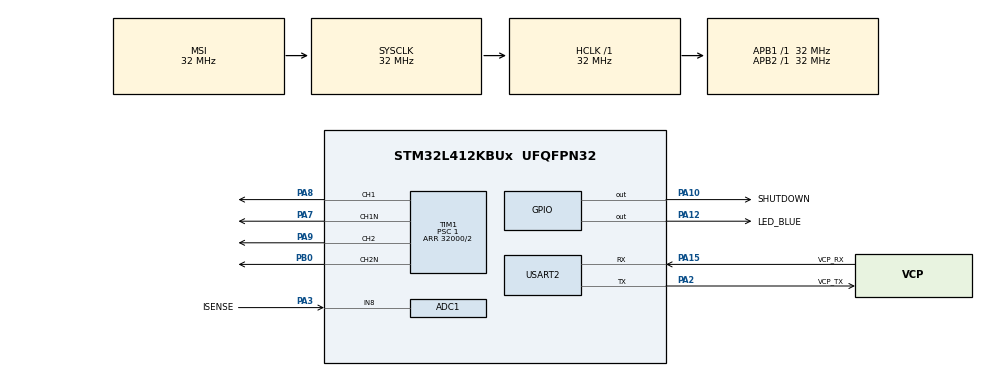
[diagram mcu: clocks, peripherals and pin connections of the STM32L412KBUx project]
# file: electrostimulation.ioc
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ADC1.Channel-1\#ChannelRegularConversion=ADC_CHANNEL_8
ADC1.NbrOfConversionFlag=1
ADC1.OffsetNumber-1\#ChannelRegularConversion=ADC_OFFSET_NONE
ADC1.Rank-1\#ChannelRegularConversion=1
ADC1.SamplingTime-1\#ChannelRegularConversion=ADC_SAMPLETIME_2CYCLES_5
ADC1.master=1
Mcu.Family=STM32L4
Mcu.Name=STM32L412KBUx
Mcu.Package=UFQFPN32
NVIC.PriorityGroup=NVIC_PRIORITYGROUP_4
NVIC.TIM2_IRQn=true\:0\:0\:false\:false\:true\:true\:true\:true
NVIC.USART2_IRQn=true\:0\:0\:false\:false\:true\:true\:true\:true
PA0-CK_IN.Mode=HSE-External-Clock-Source-for-LittleOrca
PA0-CK_IN.Signal=RCC_CK_IN
PA10.GPIO_Label=SHUTDOWN
PA10.Signal=GPIO_Output
PA12.GPIO_Label=LED_BLUE
PA12.Signal=GPIO_Output
PA13\ (JTMS/SWDIO).GPIO_Label=SWDIO
PA13\ (JTMS/SWDIO).Mode=Serial_Wire
PA13\ (JTMS/SWDIO).Signal=SYS_JTMS-SWDIO
PA14\ (JTCK/SWCLK).GPIO_Label=SWCLK
PA14\ (JTCK/SWCLK).Mode=Serial_Wire
PA14\ (JTCK/SWCLK).Signal=SYS_JTCK-SWCLK
PA15\ (JTDI).GPIO_Label=VCP_RX
PA15\ (JTDI).Mode=Asynchronous
PA15\ (JTDI).Signal=USART2_RX
PA2.GPIO_Label=VCP_TX
PA2.Mode=Asynchronous
PA2.Signal=USART2_TX
PA3.GPIO_Label=ISENSE
PA3.Signal=ADCx_IN8
PA7.Mode=PWM Generation1 CH1 CH1N
PA7.Signal=TIM1_CH1N
PA8.Signal=S_TIM1_CH1
PA9.Signal=S_TIM1_CH2
PB0.Mode=PWM Generation2 CH2 CH2N
PB0.Signal=TIM1_CH2N
PC14-OSC32_IN\ (PC14).Mode=LSE-External-Oscillator
PC14-OSC32_IN\ (PC14).Signal=RCC_OSC32_IN
PC15-OSC32_OUT\ (PC15).Mode=LSE-External-Oscillator
PC15-OSC32_OUT\ (PC15).Signal=RCC_OSC32_OUT
ProjectManager.HeapSize=0x200
ProjectManager.StackSize=0x400
ProjectManager.TargetToolchain=STM32CubeIDE
RCC.ADCFreq_Value=32000000
RCC.AHBFreq_Value=32000000
RCC.APB1Freq_Value=32000000
RCC.APB1TimFreq_Value=32000000
RCC.APB2Freq_Value=32000000
RCC.APB2TimFreq_Value=32000000
RCC.CortexFreq_Value=32000000
RCC.FLatency=FLASH_LATENCY_1
RCC.HCLKFreq_Value=32000000
RCC.HSE_VALUE=8000000
RCC.HSI48_VALUE=48000000
RCC.HSICalibrationValue=16
RCC.HSI_VALUE=16000000
RCC.LSE_Drive_Capability=RCC_LSEDRIVE_LOW
RCC.MSIClockRange=RCC_MSIRANGE_10
RCC.MSI_VALUE=32000000
RCC.SYSCLKFreq_VALUE=32000000
RCC.USBFreq_Value=32000000
RCC.VCOOutputFreq_Value=256000000
SH.ADCx_IN8.0=ADC1_IN8,IN8-Single-Ended
SH.S_TIM1_CH1.0=TIM1_CH1,PWM Generation1 CH1 CH1N
SH.S_TIM1_CH2.0=TIM1_CH2,PWM Generation2 CH2 CH2N
TIM1.Channel-PWM\ Generation1\ CH1\ CH1N=TIM_CHANNEL_1
TIM1.Channel-PWM\ Generation2\ CH2\ CH2N=TIM_CHANNEL_2
TIM1.DeadTime=30
TIM1.OCMode_PWM-PWM\ Generation2\ CH2\ CH2N=TIM_OCMODE_PWM2
TIM1.OCNPolarity_1=TIM_OCNPOLARITY_HIGH
TIM1.OCNPolarity_2=TIM_OCNPOLARITY_HIGH
TIM1.OCPolarity_2=TIM_OCPOLARITY_HIGH
TIM1.Period=32000/2
TIM1.Prescaler=1
TIM2.Period=100
TIM2.Prescaler=320-1
USART2.VirtualMode-Asynchronous=VM_ASYNC
VP_TIM2_VS_ClockSourceINT.Mode=Internal
board=NUCLEO-L412KB

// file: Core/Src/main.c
/* USER CODE BEGIN Header */
/**
 ******************************************************************************
 * @file           : main.c
 * @brief          : Main program body
 ******************************************************************************
This project contains the firmware code for the STM32LK432B for the MSRL electrostimulation driver.
/*
/* USER CODE END Header */
#include "main.h"

/* USER CODE BEGIN Includes */
#include "string.h"
/* USER CODE END Includes */

/* USER CODE BEGIN PD */
//if AUTOSTART is defined, the output will be automatically be enabled after startup
#define AUTOSTART
/* USER CODE END PD */

ADC_HandleTypeDef hadc1;

TIM_HandleTypeDef htim1;
TIM_HandleTypeDef htim2;

UART_HandleTypeDef huart2;

void SystemClock_Config(void);
static void MX_GPIO_Init(void);
static void MX_USART2_UART_Init(void);
static void MX_TIM2_Init(void);
static void MX_TIM1_Init(void);
static void MX_ADC1_Init(void);

/* USER CODE BEGIN 0 */
// UART related definitions
uint32_t period = 14285; // initial counter corresponds to f_pwm=1.12kHz
uint8_t uart_rx_symbol;
#define UART_BUFFER_SIZE 32
uint8_t rx_buffer_counter;
uint8_t rx_buffer[UART_BUFFER_SIZE];
uint8_t tx_buffer[UART_BUFFER_SIZE];
// commands & fsm
#define COMMAND_LENGTH 4
const uint8_t CMD_START[] = "STRT";
const uint8_t CMD_STOP[] = "STOP";
const uint8_t CMD_CNTR[] = "CNTR";
// ADC related variables
#define ADC_BUFFER_SIZE 1024
uint32_t adc_val = 0;
uint16_t adc_buffer_counter = 0;
uint32_t adc_buffer[ADC_BUFFER_SIZE];
// pwm frequency related variables
uint32_t des_freq_mHz = 0;
/* USER CODE END 0 */

int main(void)
{

  /* MCU Configuration--------------------------------------------------------*/

  /* Reset of all peripherals, Initializes the Flash interface and the Systick. */
  HAL_Init();

  /* Configure the system clock */
  SystemClock_Config();

  /* Initialize all configured peripherals */
  MX_GPIO_Init();
  MX_USART2_UART_Init();
  MX_TIM2_Init();
  MX_TIM1_Init();
  MX_ADC1_Init();
  /* USER CODE BEGIN 2 */
  // setup pwm on Timer1 channel 1 and channel 2
  __HAL_TIM_SET_COMPARE(&htim1, TIM_CHANNEL_1, period / 2);
  HAL_TIM_PWM_Start(&htim1, TIM_CHANNEL_1);
  HAL_TIMEx_PWMN_Start(&htim1, TIM_CHANNEL_1);
  __HAL_TIM_SET_COMPARE(&htim1, TIM_CHANNEL_2, period / 2);
  HAL_TIM_PWM_Start(&htim1, TIM_CHANNEL_2);
  HAL_TIMEx_PWMN_Start(&htim1, TIM_CHANNEL_2);
  htim1.Init.Period = period;
  HAL_TIM_PWM_Init(&htim1);
  // light up LED3
  HAL_GPIO_WritePin(LED_BLUE_GPIO_Port, LED_BLUE_Pin, GPIO_PIN_SET);
  // start ADC
  HAL_ADC_Start_IT(&hadc1);
  // start timer 2
  HAL_TIM_Base_Start_IT(&htim2);

#ifdef AUTOSTART
  // enable half-bridge drive
  HAL_GPIO_WritePin(SHUTDOWN_GPIO_Port, SHUTDOWN_Pin, GPIO_PIN_RESET);
#endif
  /* USER CODE END 2 */

  /* Infinite loop */
  while (1)
  {

    /* USER CODE BEGIN 3 */
    // read a single character in interrupt mode
    HAL_UART_Receive_IT(&huart2, &uart_rx_symbol, 1);
    // HAL_UART_Transmit(&huart2,uart_tx_buffer,5,100);
  }
  /* USER CODE END 3 */
}

void SystemClock_Config(void)
{
  RCC_OscInitTypeDef RCC_OscInitStruct = {0};
  RCC_ClkInitTypeDef RCC_ClkInitStruct = {0};

  /** Configure the main internal regulator output voltage
   */
  if (HAL_PWREx_ControlVoltageScaling(PWR_REGULATOR_VOLTAGE_SCALE1) != HAL_OK)
  {
    Error_Handler();
  }

  /** Configure LSE Drive Capability
   */
  HAL_PWR_EnableBkUpAccess();
  __HAL_RCC_LSEDRIVE_CONFIG(RCC_LSEDRIVE_LOW);

  /** Initializes the RCC Oscillators according to the specified parameters
   * in the RCC_OscInitTypeDef structure.
   */
  RCC_OscInitStruct.OscillatorType = RCC_OSCILLATORTYPE_LSE | RCC_OSCILLATORTYPE_MSI;
  RCC_OscInitStruct.LSEState = RCC_LSE_ON;
  RCC_OscInitStruct.MSIState = RCC_MSI_ON;
  RCC_OscInitStruct.MSICalibrationValue = 0;
  RCC_OscInitStruct.MSIClockRange = RCC_MSIRANGE_10;
  RCC_OscInitStruct.PLL.PLLState = RCC_PLL_NONE;
  if (HAL_RCC_OscConfig(&RCC_OscInitStruct) != HAL_OK)
  {
    Error_Handler();
  }

  /** Initializes the CPU, AHB and APB buses clocks
   */
  RCC_ClkInitStruct.ClockType = RCC_CLOCKTYPE_HCLK | RCC_CLOCKTYPE_SYSCLK | RCC_CLOCKTYPE_PCLK1 | RCC_CLOCKTYPE_PCLK2;
  RCC_ClkInitStruct.SYSCLKSource = RCC_SYSCLKSOURCE_MSI;
  RCC_ClkInitStruct.AHBCLKDivider = RCC_SYSCLK_DIV1;
  RCC_ClkInitStruct.APB1CLKDivider = RCC_HCLK_DIV1;
  RCC_ClkInitStruct.APB2CLKDivider = RCC_HCLK_DIV1;

  if (HAL_RCC_ClockConfig(&RCC_ClkInitStruct, FLASH_LATENCY_1) != HAL_OK)
  {
    Error_Handler();
  }

  /** Enable MSI Auto calibration
   */
  HAL_RCCEx_EnableMSIPLLMode();
}

static void MX_ADC1_Init(void)
{

  ADC_MultiModeTypeDef multimode = {0};
  ADC_ChannelConfTypeDef sConfig = {0};

  /** Common config
   */
  hadc1.Instance = ADC1;
  hadc1.Init.ClockPrescaler = ADC_CLOCK_ASYNC_DIV1;
  hadc1.Init.Resolution = ADC_RESOLUTION_12B;
  hadc1.Init.DataAlign = ADC_DATAALIGN_RIGHT;
  hadc1.Init.ScanConvMode = ADC_SCAN_DISABLE;
  hadc1.Init.EOCSelection = ADC_EOC_SINGLE_CONV;
  hadc1.Init.LowPowerAutoWait = DISABLE;
  hadc1.Init.ContinuousConvMode = DISABLE;
  hadc1.Init.NbrOfConversion = 1;
  hadc1.Init.DiscontinuousConvMode = DISABLE;
  hadc1.Init.ExternalTrigConv = ADC_SOFTWARE_START;
  hadc1.Init.ExternalTrigConvEdge = ADC_EXTERNALTRIGCONVEDGE_NONE;
  hadc1.Init.DMAContinuousRequests = DISABLE;
  hadc1.Init.Overrun = ADC_OVR_DATA_PRESERVED;
  hadc1.Init.OversamplingMode = DISABLE;
  if (HAL_ADC_Init(&hadc1) != HAL_OK)
  {
    Error_Handler();
  }

  /** Configure the ADC multi-mode
   */
  multimode.Mode = ADC_MODE_INDEPENDENT;
  if (HAL_ADCEx_MultiModeConfigChannel(&hadc1, &multimode) != HAL_OK)
  {
    Error_Handler();
  }

  /** Configure Regular Channel
   */
  sConfig.Channel = ADC_CHANNEL_8;
  sConfig.Rank = ADC_REGULAR_RANK_1;
  sConfig.SamplingTime = ADC_SAMPLETIME_2CYCLES_5;
  sConfig.SingleDiff = ADC_SINGLE_ENDED;
  sConfig.OffsetNumber = ADC_OFFSET_NONE;
  sConfig.Offset = 0;
  if (HAL_ADC_ConfigChannel(&hadc1, &sConfig) != HAL_OK)
  {
    Error_Handler();
  }
}

static void MX_TIM1_Init(void)
{

  TIM_MasterConfigTypeDef sMasterConfig = {0};
  TIM_OC_InitTypeDef sConfigOC = {0};
  TIM_BreakDeadTimeConfigTypeDef sBreakDeadTimeConfig = {0};

  htim1.Instance = TIM1;
  htim1.Init.Prescaler = 1;
  htim1.Init.CounterMode = TIM_COUNTERMODE_UP;
  htim1.Init.Period = 32000 / 2;
  htim1.Init.ClockDivision = TIM_CLOCKDIVISION_DIV1;
  htim1.Init.RepetitionCounter = 0;
  htim1.Init.AutoReloadPreload = TIM_AUTORELOAD_PRELOAD_DISABLE;
  if (HAL_TIM_PWM_Init(&htim1) != HAL_OK)
  {
    Error_Handler();
  }
  sMasterConfig.MasterOutputTrigger = TIM_TRGO_RESET;
  sMasterConfig.MasterOutputTrigger2 = TIM_TRGO2_RESET;
  sMasterConfig.MasterSlaveMode = TIM_MASTERSLAVEMODE_DISABLE;
  if (HAL_TIMEx_MasterConfigSynchronization(&htim1, &sMasterConfig) != HAL_OK)
  {
    Error_Handler();
  }
  sConfigOC.OCMode = TIM_OCMODE_PWM1;
  sConfigOC.Pulse = 0;
  sConfigOC.OCPolarity = TIM_OCPOLARITY_HIGH;
  sConfigOC.OCNPolarity = TIM_OCNPOLARITY_HIGH;
  sConfigOC.OCFastMode = TIM_OCFAST_DISABLE;
  sConfigOC.OCIdleState = TIM_OCIDLESTATE_RESET;
  sConfigOC.OCNIdleState = TIM_OCNIDLESTATE_RESET;
  if (HAL_TIM_PWM_ConfigChannel(&htim1, &sConfigOC, TIM_CHANNEL_1) != HAL_OK)
  {
    Error_Handler();
  }
  sConfigOC.OCMode = TIM_OCMODE_PWM2;
  if (HAL_TIM_PWM_ConfigChannel(&htim1, &sConfigOC, TIM_CHANNEL_2) != HAL_OK)
  {
    Error_Handler();
  }
  sBreakDeadTimeConfig.OffStateRunMode = TIM_OSSR_DISABLE;
  sBreakDeadTimeConfig.OffStateIDLEMode = TIM_OSSI_DISABLE;
  sBreakDeadTimeConfig.LockLevel = TIM_LOCKLEVEL_OFF;
  sBreakDeadTimeConfig.DeadTime = 30;
  sBreakDeadTimeConfig.BreakState = TIM_BREAK_DISABLE;
  sBreakDeadTimeConfig.BreakPolarity = TIM_BREAKPOLARITY_HIGH;
  sBreakDeadTimeConfig.BreakFilter = 0;
  sBreakDeadTimeConfig.Break2State = TIM_BREAK2_DISABLE;
  sBreakDeadTimeConfig.Break2Polarity = TIM_BREAK2POLARITY_HIGH;
  sBreakDeadTimeConfig.Break2Filter = 0;
  sBreakDeadTimeConfig.AutomaticOutput = TIM_AUTOMATICOUTPUT_DISABLE;
  if (HAL_TIMEx_ConfigBreakDeadTime(&htim1, &sBreakDeadTimeConfig) != HAL_OK)
  {
    Error_Handler();
  }
  HAL_TIM_MspPostInit(&htim1);
}

static void MX_TIM2_Init(void)
{

  TIM_ClockConfigTypeDef sClockSourceConfig = {0};
  TIM_MasterConfigTypeDef sMasterConfig = {0};

  htim2.Instance = TIM2;
  htim2.Init.Prescaler = 320 - 1;
  htim2.Init.CounterMode = TIM_COUNTERMODE_UP;
  htim2.Init.Period = 100;
  htim2.Init.ClockDivision = TIM_CLOCKDIVISION_DIV1;
  htim2.Init.AutoReloadPreload = TIM_AUTORELOAD_PRELOAD_DISABLE;
  if (HAL_TIM_Base_Init(&htim2) != HAL_OK)
  {
    Error_Handler();
  }
  sClockSourceConfig.ClockSource = TIM_CLOCKSOURCE_INTERNAL;
  if (HAL_TIM_ConfigClockSource(&htim2, &sClockSourceConfig) != HAL_OK)
  {
    Error_Handler();
  }
  sMasterConfig.MasterOutputTrigger = TIM_TRGO_RESET;
  sMasterConfig.MasterSlaveMode = TIM_MASTERSLAVEMODE_DISABLE;
  if (HAL_TIMEx_MasterConfigSynchronization(&htim2, &sMasterConfig) != HAL_OK)
  {
    Error_Handler();
  }
}

static void MX_USART2_UART_Init(void)
{

  huart2.Instance = USART2;
  huart2.Init.BaudRate = 115200;
  huart2.Init.WordLength = UART_WORDLENGTH_8B;
  huart2.Init.StopBits = UART_STOPBITS_1;
  huart2.Init.Parity = UART_PARITY_NONE;
  huart2.Init.Mode = UART_MODE_TX_RX;
  huart2.Init.HwFlowCtl = UART_HWCONTROL_NONE;
  huart2.Init.OverSampling = UART_OVERSAMPLING_16;
  huart2.Init.OneBitSampling = UART_ONE_BIT_SAMPLE_DISABLE;
  huart2.AdvancedInit.AdvFeatureInit = UART_ADVFEATURE_NO_INIT;
  if (HAL_UART_Init(&huart2) != HAL_OK)
  {
    Error_Handler();
  }
}

static void MX_GPIO_Init(void)
{
  GPIO_InitTypeDef GPIO_InitStruct = {0};

  /* GPIO Ports Clock Enable */
  __HAL_RCC_GPIOC_CLK_ENABLE();
  __HAL_RCC_GPIOA_CLK_ENABLE();
  __HAL_RCC_GPIOB_CLK_ENABLE();

  /*Configure GPIO pin Output Level */
  HAL_GPIO_WritePin(GPIOA, SHUTDOWN_Pin | LED_BLUE_Pin, GPIO_PIN_RESET);

  /*Configure GPIO pins : SHUTDOWN_Pin LED_BLUE_Pin */
  GPIO_InitStruct.Pin = SHUTDOWN_Pin | LED_BLUE_Pin;
  GPIO_InitStruct.Mode = GPIO_MODE_OUTPUT_PP;
  GPIO_InitStruct.Pull = GPIO_NOPULL;
  GPIO_InitStruct.Speed = GPIO_SPEED_FREQ_LOW;
  HAL_GPIO_Init(GPIOA, &GPIO_InitStruct);

}

/* USER CODE BEGIN 4 */

void HAL_TIM_PeriodElapsedCallback(TIM_HandleTypeDef *htim)
{
  // HAL_GPIO_TogglePin(LD3_GPIO_Port, LD3_Pin);
  HAL_ADC_Start_IT(&hadc1);
}

void HAL_UART_RxCpltCallback(UART_HandleTypeDef *huart)
{
  // a command ends with the '\n' character
  if (uart_rx_symbol == '\n')
  {
    rx_buffer[rx_buffer_counter] = 0;
    process_command();
    return;
  }
  else
  {
    // write the received symbol to the buffer
    rx_buffer[rx_buffer_counter] = uart_rx_symbol;
  }
  if (rx_buffer_counter == UART_BUFFER_SIZE)
  {
    // circular buffer
    rx_buffer_counter = 0;
  }
  else
  {
    rx_buffer_counter = rx_buffer_counter + 1;
  }
}

void HAL_ADC_ConvCpltCallback(ADC_HandleTypeDef *hadc)
{
  adc_buffer[adc_buffer_counter] = HAL_ADC_GetValue(&hadc1);
  adc_buffer_counter = (adc_buffer_counter + 1) % ADC_BUFFER_SIZE;
  return;
}

void process_command()
{
  if (strcmp(CMD_START, rx_buffer) == 0)
  {
    // execute START command
    HAL_GPIO_TogglePin(LED_BLUE_GPIO_Port, LED_BLUE_Pin);
    HAL_GPIO_WritePin(SHUTDOWN_GPIO_Port, SHUTDOWN_Pin, GPIO_PIN_RESET);
  }
  if (strcmp(CMD_STOP, rx_buffer) == 0)
  {
    // execute STOP command
    HAL_GPIO_TogglePin(LED_BLUE_GPIO_Port, LED_BLUE_Pin);
    HAL_GPIO_WritePin(SHUTDOWN_GPIO_Port, SHUTDOWN_Pin, GPIO_PIN_SET);
  }
  if (strcmp(CMD_CNTR, rx_buffer) == 0)
  {
    // set the desired frequency
    uint32_t period = atoi(rx_buffer + COMMAND_LENGTH + 1);
    __HAL_TIM_SET_COMPARE(&htim1, TIM_CHANNEL_2, period / 2);
    __HAL_TIM_SET_COMPARE(&htim1, TIM_CHANNEL_1, period / 2);
    htim1.Init.Period = period;
    HAL_TIM_PWM_Init(&htim1);
  }
  // reset the buffer counter
  rx_buffer_counter = 0;
}

/* USER CODE END 4 */

void Error_Handler(void)
{
  __disable_irq();
  while (1)
  {
  }
}
